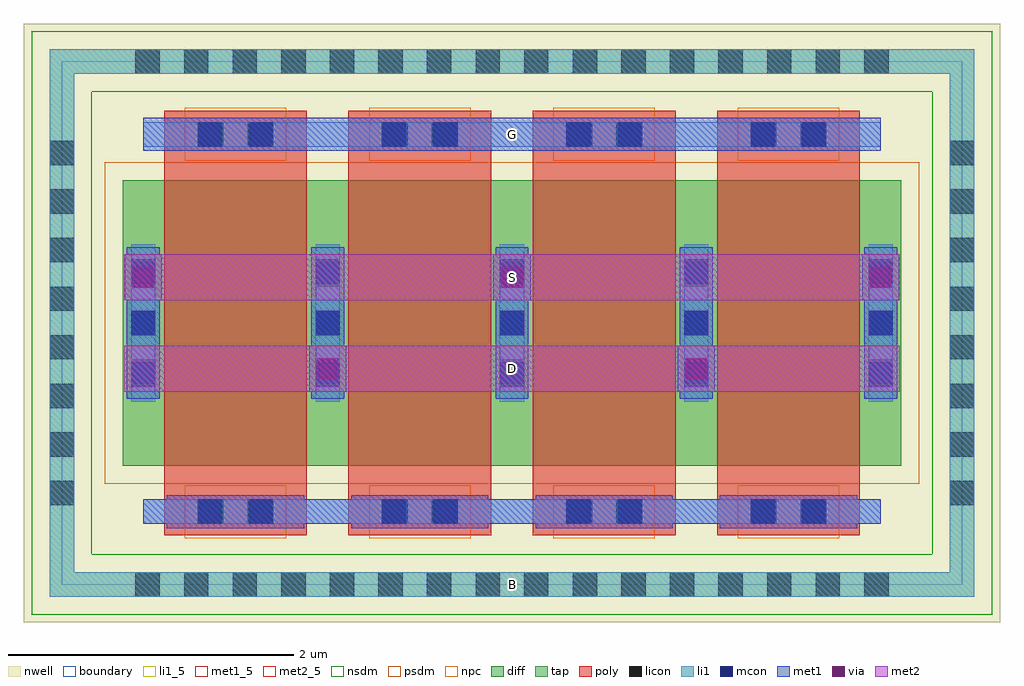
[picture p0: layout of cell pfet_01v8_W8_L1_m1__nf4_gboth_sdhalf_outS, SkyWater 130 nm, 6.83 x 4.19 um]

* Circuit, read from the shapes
.subckt pfet_01v8_W8_L1_m1__nf4_gboth_sdhalf_outS B D G S
XM1 D G S B sky130_fd_pr__pfet_01v8 w=2 l=1 m=4
.ends

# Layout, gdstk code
import gdstk
lib = gdstk.Library(unit=1e-6, precision=1e-09)
def R(c, l, rs):  # rectangles x0, y0, x1, y1
    for r in rs: c.add(gdstk.rectangle(r[:2], r[2:], *l))
def A(c, l, x, y, w, h, nx, ny, dx, dy):  # array of equal rectangles
    R(c, l, [(x+i*dx, y+j*dy, x+i*dx+w, y+j*dy+h) for i in range(nx) for j in range(ny)])
nwell = (64, 20)
diff = (65, 20)
tap = (65, 44)
poly = (66, 20)
licon = (66, 44)
li1_5 = (67, 5)
li1 = (67, 20)
mcon = (67, 44)
met1_5 = (68, 5)
met1 = (68, 20)
via = (68, 44)
met2_5 = (69, 5)
met2 = (69, 20)
nsdm = (93, 44)
psdm = (94, 20)
npc = (95, 20)
boundary = (235, 4)

sky130_fd_pr__pfet_01v8_ = lib.new_cell('sky130_fd_pr__pfet_01v8_685G33')
R(sky130_fd_pr__pfet_01v8_, nwell, [(-3.415,-2.095,3.415,2.095)])
R(sky130_fd_pr__pfet_01v8_, diff, [(-2.725,-1,2.725,1)])
R(sky130_fd_pr__pfet_01v8_, tap, [(-3.235,-1.915,3.235,-1.745), (-3.235,-1.745,-3.065,1.745), (3.065,-1.745,3.235,1.745), (-3.235,1.745,3.235,1.915)])
A(sky130_fd_pr__pfet_01v8_, poly, -2.435, -1.485, 1, 2.97, 4, 1, 1.29, 0)
A(sky130_fd_pr__pfet_01v8_, licon, -2.635, -1.915, 0.17, 0.17, 16, 2, 0.34, 3.66)
A(sky130_fd_pr__pfet_01v8_, licon, -3.235, -1.275, 0.17, 0.17, 1, 8, 0, 0.34)
A(sky130_fd_pr__pfet_01v8_, licon, 3.065, -1.275, 0.17, 0.17, 1, 8, 0, 0.34)
A(sky130_fd_pr__pfet_01v8_, licon, -2.665, -0.425, 0.17, 0.17, 5, 3, 1.29, 0.34)
R(sky130_fd_pr__pfet_01v8_, licon, [(-2.19,-1.405,-2.02,-1.235), (-1.85,-1.405,-1.68,-1.235), (-0.9,-1.405,-0.73,-1.235), (-0.56,-1.405,-0.39,-1.235), (0.39,-1.405,0.56,-1.235), (0.73,-1.405,0.9,-1.235), (1.68,-1.405,1.85,-1.235), (2.02,-1.405,2.19,-1.235), (-2.19,1.235,-2.02,1.405), (-1.85,1.235,-1.68,1.405), (-0.9,1.235,-0.73,1.405), (-0.56,1.235,-0.39,1.405), (0.39,1.235,0.56,1.405), (0.73,1.235,0.9,1.405), (1.68,1.235,1.85,1.405), (2.02,1.235,2.19,1.405)])
A(sky130_fd_pr__pfet_01v8_, li1, -2.665, -0.55, 0.17, 1.1, 5, 1, 1.29, 0)
R(sky130_fd_pr__pfet_01v8_, li1, [(-3.235,-1.915,3.235,-1.745), (-3.235,-1.745,-3.065,1.745), (3.065,-1.745,3.235,1.745), (-2.58,-1.405,2.58,-1.235), (-2.58,1.235,2.58,1.405), (-3.235,1.745,3.235,1.915)])
A(sky130_fd_pr__pfet_01v8_, mcon, -2.665, -0.445, 0.17, 0.17, 5, 3, 1.29, 0.36)
R(sky130_fd_pr__pfet_01v8_, mcon, [(-2.2,-1.405,-2.03,-1.235), (-1.84,-1.405,-1.67,-1.235), (-0.91,-1.405,-0.74,-1.235), (-0.55,-1.405,-0.38,-1.235), (0.38,-1.405,0.55,-1.235), (0.74,-1.405,0.91,-1.235), (1.67,-1.405,1.84,-1.235), (2.03,-1.405,2.2,-1.235), (-2.2,1.235,-2.03,1.405), (-1.84,1.235,-1.67,1.405), (-0.91,1.235,-0.74,1.405), (-0.55,1.235,-0.38,1.405), (0.38,1.235,0.55,1.405), (0.74,1.235,0.91,1.405), (1.67,1.235,1.84,1.405), (2.03,1.235,2.2,1.405)])
A(sky130_fd_pr__pfet_01v8_, met1, -2.415, -1.435, 0.96, 0.03, 4, 2, 1.29, 0.2)
A(sky130_fd_pr__pfet_01v8_, met1, -2.695, -0.53, 0.23, 1.06, 5, 1, 1.29, 0)
A(sky130_fd_pr__pfet_01v8_, met1, -2.415, 1.205, 0.96, 0.03, 4, 2, 1.29, 0.2)
R(sky130_fd_pr__pfet_01v8_, met1, [(-2.58,-1.405,2.58,-1.235), (-2.58,1.235,2.58,1.405)])
R(sky130_fd_pr__pfet_01v8_, nsdm, [(-3.36,-2.04,3.36,-1.62), (-3.36,-1.62,-2.94,1.62), (2.94,-1.62,3.36,1.62), (-3.36,1.62,3.36,2.04)])
R(sky130_fd_pr__pfet_01v8_, psdm, [(-2.85,-1.125,2.85,1.125)])
A(sky130_fd_pr__pfet_01v8_, npc, -2.29, -1.505, 0.71, 0.37, 4, 2, 1.29, 2.64)
R(sky130_fd_pr__pfet_01v8_, boundary, [(-3.15,-1.83,3.15,1.83)])
sky130_fd_pr__pfet_01v8_.add(gdstk.Label('B', (0,-1.83), layer=67, texttype=5))
sky130_fd_pr__pfet_01v8_.add(gdstk.Label('D0', (-2.58,0), layer=67, texttype=5))
sky130_fd_pr__pfet_01v8_.add(gdstk.Label('G', (1.935,1.32), layer=67, texttype=5))
sky130_fd_pr__pfet_01v8_.add(gdstk.Label('G', (0.645,1.32), layer=67, texttype=5))
sky130_fd_pr__pfet_01v8_.add(gdstk.Label('G', (-0.645,1.32), layer=67, texttype=5))
sky130_fd_pr__pfet_01v8_.add(gdstk.Label('G', (-1.935,1.32), layer=67, texttype=5))
sky130_fd_pr__pfet_01v8_.add(gdstk.Label('S1', (-1.29,0), layer=67, texttype=5))
sky130_fd_pr__pfet_01v8_.add(gdstk.Label('D2', (0,0), layer=67, texttype=5))
sky130_fd_pr__pfet_01v8_.add(gdstk.Label('S3', (1.29,0), layer=67, texttype=5))

pfet_01v8_w8_l1_m1__nf4_ = lib.new_cell('pfet_01v8_W8_L1_m1__nf4_gboth_sdhalf_outS')
R(pfet_01v8_w8_l1_m1__nf4_, li1_5, [(3.065,-0.085,3.235,0.085)])
R(pfet_01v8_w8_l1_m1__nf4_, li1, [(3.065,-0.085,3.235,0.085)])
R(pfet_01v8_w8_l1_m1__nf4_, met1_5, [(0.57,3.035,5.73,3.265)])
A(pfet_01v8_w8_l1_m1__nf4_, met1, 0.44, 1.99, 0.26, 0.32, 3, 1, 2.58, 0)
R(pfet_01v8_w8_l1_m1__nf4_, met1, [(1.73,1.35,1.99,1.67), (4.31,1.35,4.57,1.67), (0.57,3.035,5.73,3.265)])
A(pfet_01v8_w8_l1_m1__nf4_, via, 0.495, 2.075, 0.15, 0.15, 3, 1, 2.58, 0)
R(pfet_01v8_w8_l1_m1__nf4_, via, [(1.785,1.435,1.935,1.585), (4.365,1.435,4.515,1.585)])
R(pfet_01v8_w8_l1_m1__nf4_, met2_5, [(0.435,1.35,5.865,1.67), (0.435,1.99,5.865,2.31)])
R(pfet_01v8_w8_l1_m1__nf4_, met2, [(0.435,1.35,5.865,1.67), (0.435,1.99,5.865,2.31)])
pfet_01v8_w8_l1_m1__nf4_.add(gdstk.Reference(sky130_fd_pr__pfet_01v8_, (3.15,1.83)))
pfet_01v8_w8_l1_m1__nf4_.add(gdstk.Label('S', (3.15,2.15), layer=69, texttype=5))
pfet_01v8_w8_l1_m1__nf4_.add(gdstk.Label('D', (3.15,1.51), layer=69, texttype=5))
pfet_01v8_w8_l1_m1__nf4_.add(gdstk.Label('G', (3.15,3.15), layer=68, texttype=5))
pfet_01v8_w8_l1_m1__nf4_.add(gdstk.Label('B', (3.15,0), layer=67, texttype=5))

lib.write_gds('pfet_01v8_W8_L1_m1__nf4_gboth_sdhalf_outS.gds')
